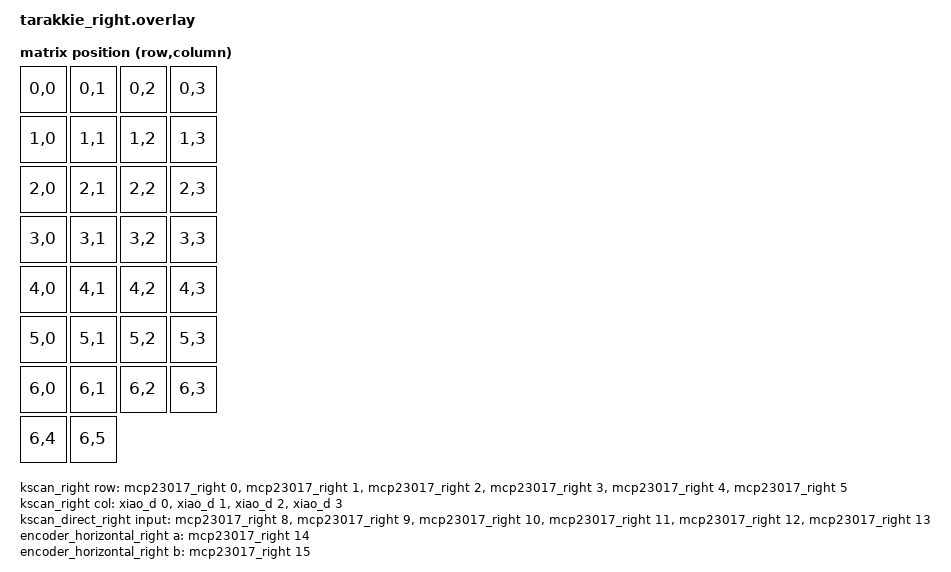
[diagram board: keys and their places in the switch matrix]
/*
 * Copyright (c) 2025
 * SPDX-License-Identifier: MIT
 *
 * Tarakkie Right (Central/Master)
 * - 30 keys (4x6 matrix + 6 individual keys)
 * - MCP23017 I2C GPIO expander
 * - PMW3610 trackball (SPI)
 * - Horizontal rotary encoder with click
 */

#include <dt-bindings/zmk/matrix_transform.h>
#include <dt-bindings/gpio/gpio.h>

/ {
    /* ============================================================
     * I2C GPIO Expander (MCP23017)
     * Address: 0x20
     * Usage:
     *   - GPA0~5: Matrix rows (6 rows)
     *   - GPB0~5: Individual keys (6 keys)
     *   - GPB6~7: Horizontal encoder A/B signals
     * ============================================================ */
    
    /* Enable I2C bus */
    &i2c0 {
        status = "okay";
        
        mcp23017_right: mcp23017@20 {
            compatible = "microchip,mcp230xx";
            reg = <0x20>;
            gpio-controller;
            #gpio-cells = <2>;
            ngpios = <16>;
            status = "okay";
        };
    };

    /* ============================================================
     * SPI for PMW3610 Trackball Sensor
     * Pins:
     *   - MOSI: &xiao_d 7
     *   - MISO: &xiao_d 8
     *   - SCLK: &xiao_d 9
     *   - CS:   &xiao_d 10
     * 
     * Note: Requires PMW3610 driver in ZMK
     * ============================================================ */

    /* ============================================================
     * Key Matrix Scanner
     * - Columns: 4 (MCU GPIO &xiao_d 0~3)
     * - Rows: 6 (MCP23017 GPA0~5)
     * - Diode direction: COL2ROW
     * ============================================================ */
    
    kscan_right: kscan_right {
        compatible = "zmk,kscan-gpio-matrix";
        diode-direction = "col2row";
        wakeup-source;

        col-gpios
            = <&xiao_d 0 GPIO_ACTIVE_HIGH>
            , <&xiao_d 1 GPIO_ACTIVE_HIGH>
            , <&xiao_d 2 GPIO_ACTIVE_HIGH>
            , <&xiao_d 3 GPIO_ACTIVE_HIGH>
            ;

        row-gpios
            = <&mcp23017_right 0 (GPIO_ACTIVE_HIGH | GPIO_PULL_DOWN)>
            , <&mcp23017_right 1 (GPIO_ACTIVE_HIGH | GPIO_PULL_DOWN)>
            , <&mcp23017_right 2 (GPIO_ACTIVE_HIGH | GPIO_PULL_DOWN)>
            , <&mcp23017_right 3 (GPIO_ACTIVE_HIGH | GPIO_PULL_DOWN)>
            , <&mcp23017_right 4 (GPIO_ACTIVE_HIGH | GPIO_PULL_DOWN)>
            , <&mcp23017_right 5 (GPIO_ACTIVE_HIGH | GPIO_PULL_DOWN)>
            ;
    };

    /* ============================================================
     * Direct GPIO Keys (Individual Keys)
     * - 6 keys connected to MCP23017 GPB0~5
     * ============================================================ */
    
    kscan_direct_right: kscan_direct_right {
        compatible = "zmk,kscan-gpio-direct";
        
        input-gpios
            = <&mcp23017_right 8  (GPIO_ACTIVE_LOW | GPIO_PULL_UP)>
            , <&mcp23017_right 9  (GPIO_ACTIVE_LOW | GPIO_PULL_UP)>
            , <&mcp23017_right 10 (GPIO_ACTIVE_LOW | GPIO_PULL_UP)>
            , <&mcp23017_right 11 (GPIO_ACTIVE_LOW | GPIO_PULL_UP)>
            , <&mcp23017_right 12 (GPIO_ACTIVE_LOW | GPIO_PULL_UP)>
            , <&mcp23017_right 13 (GPIO_ACTIVE_LOW | GPIO_PULL_UP)>
            ;
    };

    /* ============================================================
     * Composite Key Scanner (Matrix + Direct)
     * Combines both matrix and direct keys into one scanner
     * ============================================================ */
    
    kscan_composite_right: kscan_composite_right {
        compatible = "zmk,kscan-composite";
        rows = <7>;
        columns = <4>;
        
        matrix {
            kscan = <&kscan_right>;
        };
        
        direct {
            kscan = <&kscan_direct_right>;
            row-offset = <6>;
            column-offset = <0>;
        };
    };

    /* ============================================================
     * Matrix Transform
     * Maps physical key positions to logical positions
     * Layout: 30 keys total
     *   - 24 matrix keys (4 cols x 6 rows)
     *   - 6 direct keys
     * ============================================================ */
    
    default_transform_right: keymap_transform_right {
        compatible = "zmk,matrix-transform";
        columns = <4>;
        rows = <7>;
        
        map = <
            RC(0,0) RC(0,1) RC(0,2) RC(0,3)
            RC(1,0) RC(1,1) RC(1,2) RC(1,3)
            RC(2,0) RC(2,1) RC(2,2) RC(2,3)
            RC(3,0) RC(3,1) RC(3,2) RC(3,3)
            RC(4,0) RC(4,1) RC(4,2) RC(4,3)
            RC(5,0) RC(5,1) RC(5,2) RC(5,3)
            RC(6,0) RC(6,1) RC(6,2) RC(6,3)
            RC(6,4) RC(6,5)
        >;
    };

    /* ============================================================
     * Horizontal Rotary Encoder (with click)
     * Pins:
     *   - A signal: MCP23017 GPB6
     *   - B signal: MCP23017 GPB7
     *   - Click switch: &xiao_d 4
     * ============================================================ */
    
    encoder_horizontal_right: encoder_horizontal_right {
        compatible = "alps,ec11";
        a-gpios = <&mcp23017_right 14 (GPIO_ACTIVE_HIGH | GPIO_PULL_UP)>;
        b-gpios = <&mcp23017_right 15 (GPIO_ACTIVE_HIGH | GPIO_PULL_UP)>;
        resolution = <4>;
        status = "okay";
    };

    /* ============================================================
     * Physical Layout Definition
     * Required for ZMK Studio and layout selection
     * ============================================================ */
    
    physical_layout_right: physical_layout_right {
        compatible = "zmk,physical-layout";
        display-name = "Tarakkie Right";
        transform = <&default_transform_right>;
        kscan = <&kscan_composite_right>;
    };

    /* ============================================================
     * Chosen Nodes
     * Specify default physical layout and key scanner
     * ============================================================ */
    
    chosen {
        zmk,physical-layout = &physical_layout_right;
        zmk,kscan = <&kscan_composite_right>;
        zmk,matrix-transform = &default_transform_right>;
    };
};
